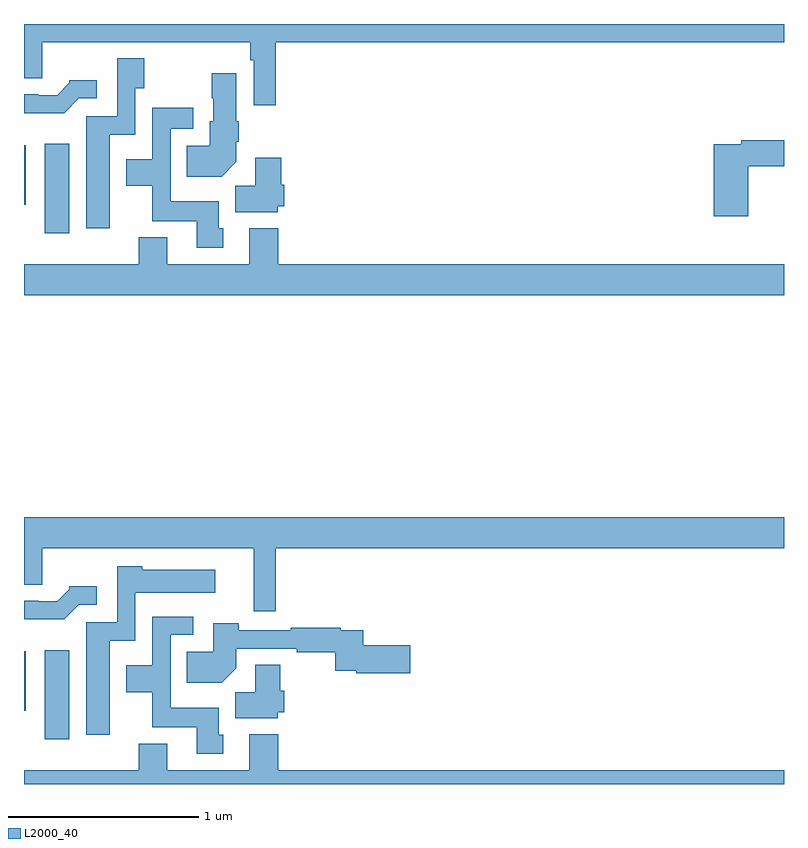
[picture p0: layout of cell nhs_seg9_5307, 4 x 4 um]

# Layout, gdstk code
import gdstk
lib = gdstk.Library(unit=1e-6, precision=1e-09)
def R(c, l, rs):  # rectangles x0, y0, x1, y1
    for r in rs: c.add(gdstk.rectangle(r[:2], r[2:], *l))
def P(c, l, *ps):  # polygons
    for p in ps: c.add(gdstk.Polygon(p, *l))
L2000_40 = (2000, 40)

nhs_seg9_5307 = lib.new_cell('nhs_seg9_5307')
R(nhs_seg9_5307, L2000_40, [(419.108,1208.736,419.239,1209.205), (419,1208.885,419.008,1209.199), (419.108,1211.4,419.239,1211.869), (419,1211.549,419.008,1211.863)])
P(nhs_seg9_5307, L2000_40, [(420.326,1212.404),(423,1212.404),(423,1212.5),(419,1212.5),(419,1212.214),(419.095,1212.214),(419.095,1212.404),(420.19,1212.404),(420.19,1212.308),(420.21,1212.308),(420.21,1212.072),(420.326,1212.072)],
  [(419.452,1211.918),(419.586,1211.918),(419.586,1212.163),(419.634,1212.163),(419.634,1212.319),(419.49,1212.319),(419.49,1212.015),(419.327,1212.015),(419.327,1211.424),(419.452,1211.424)],
  [(420.118,1211.774),(420.118,1211.881),(420.131,1211.881),(420.131,1211.988),(420.118,1211.988),(420.118,1212.241),(419.989,1212.241),(419.989,1212.108),(419.996,1212.108),(419.996,1211.988),(419.978,1211.988),(419.978,1211.86),(419.857,1211.86),(419.857,1211.696),(420.04,1211.696)],
  [(419.289,1212.108),(419.383,1212.108),(419.383,1212.205),(419.238,1212.205),(419.238,1212.19),(419.174,1212.126),(419.075,1212.126),(419.075,1212.129),(419,1212.129),(419,1212.03),(419.211,1212.03)],
  [(420.049,1211.424),(420.025,1211.424),(420.025,1211.566),(419.772,1211.566),(419.772,1211.949),(419.89,1211.949),(419.89,1212.058),(419.676,1212.058),(419.676,1211.788),(419.537,1211.788),(419.537,1211.648),(419.674,1211.648),(419.674,1211.462),(419.909,1211.462),(419.909,1211.322),(420.049,1211.322)],
  [(422.813,1211.752),(423,1211.752),(423,1211.888),(422.776,1211.888),(422.776,1211.868),(422.63,1211.868),(422.63,1211.487),(422.813,1211.487)],
  [(420.336,1211.541),(420.371,1211.541),(420.371,1211.655),(420.353,1211.655),(420.353,1211.797),(420.218,1211.797),(420.218,1211.648),(420.113,1211.648),(420.113,1211.51),(420.336,1211.51)],
  [(423,1211.236),(420.338,1211.236),(420.338,1211.425),(420.185,1211.425),(420.185,1211.236),(419.755,1211.236),(419.755,1211.377),(419.603,1211.377),(419.603,1211.236),(419,1211.236),(419,1211.072),(423,1211.072)],
  [(420.326,1209.74),(423,1209.74),(423,1209.904),(419,1209.904),(419,1209.55),(419.095,1209.55),(419.095,1209.74),(420.209,1209.74),(420.209,1209.408),(420.326,1209.408)],
  [(419.452,1209.254),(419.586,1209.254),(419.586,1209.506),(420.007,1209.506),(420.007,1209.628),(419.622,1209.628),(419.622,1209.646),(419.49,1209.646),(419.49,1209.351),(419.327,1209.351),(419.327,1208.76),(419.452,1208.76)],
  [(419.289,1209.444),(419.383,1209.444),(419.383,1209.541),(419.238,1209.541),(419.238,1209.526),(419.174,1209.462),(419.075,1209.462),(419.075,1209.465),(419,1209.465),(419,1209.366),(419.211,1209.366)],
  [(420.049,1208.76),(420.025,1208.76),(420.025,1208.902),(419.772,1208.902),(419.772,1209.285),(419.89,1209.285),(419.89,1209.381),(419.676,1209.381),(419.676,1209.124),(419.537,1209.124),(419.537,1208.984),(419.674,1208.984),(419.674,1208.798),(419.909,1208.798),(419.909,1208.658),(420.049,1208.658)],
  [(420.118,1209.11),(420.118,1209.213),(420.436,1209.213),(420.436,1209.193),(420.637,1209.193),(420.637,1209.095),(420.748,1209.095),(420.748,1209.083),(421.033,1209.083),(421.033,1209.23),(420.785,1209.23),(420.785,1209.309),(420.668,1209.309),(420.668,1209.322),(420.403,1209.322),(420.403,1209.309),(420.131,1209.309),(420.131,1209.346),(419.996,1209.346),(419.996,1209.196),(419.857,1209.196),(419.857,1209.032),(420.04,1209.032)],
  [(420.336,1208.877),(420.371,1208.877),(420.371,1208.991),(420.348,1208.991),(420.348,1209.128),(420.218,1209.128),(420.218,1208.984),(420.113,1208.984),(420.113,1208.846),(420.336,1208.846)],
  [(423,1208.572),(420.338,1208.572),(420.338,1208.761),(420.185,1208.761),(420.185,1208.572),(419.755,1208.572),(419.755,1208.713),(419.603,1208.713),(419.603,1208.572),(419,1208.572),(419,1208.5),(423,1208.5)])

lib.write_gds('nhs_seg9_5307.gds')
